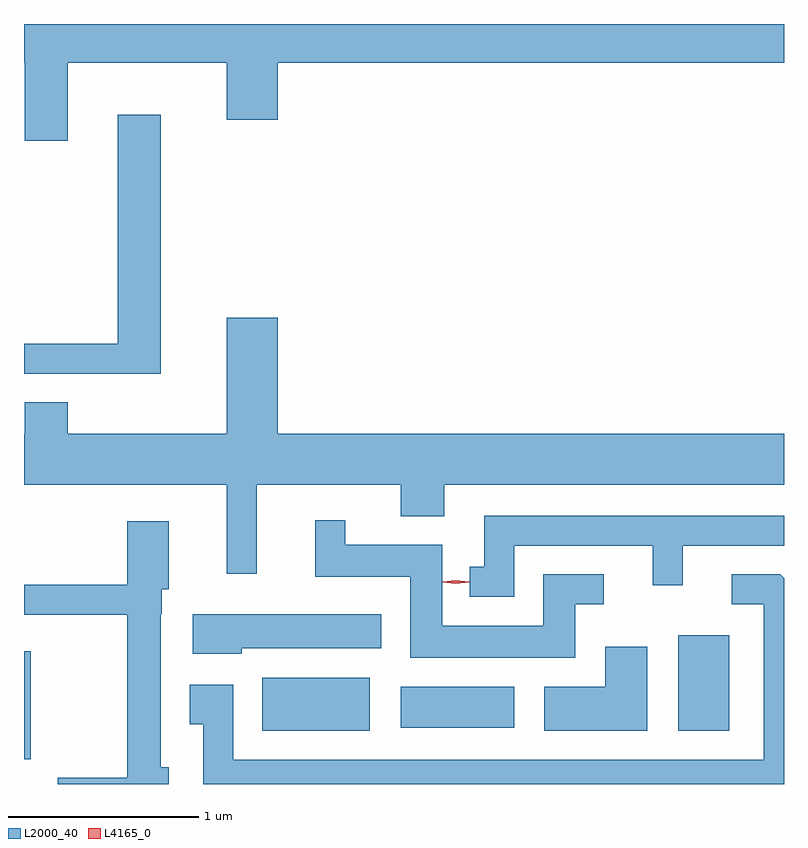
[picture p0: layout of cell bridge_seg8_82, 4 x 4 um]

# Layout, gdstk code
import gdstk
lib = gdstk.Library(unit=1e-6, precision=1e-09)
def R(c, l, rs):  # rectangles x0, y0, x1, y1
    for r in rs: c.add(gdstk.rectangle(r[:2], r[2:], *l))
def P(c, l, *ps):  # polygons
    for p in ps: c.add(gdstk.Polygon(p, *l))
L2000_40 = (2000, 40)
L4165_0 = (4165, 0)

bridge_seg8_82 = lib.new_cell('bridge_seg8_82')
R(bridge_seg8_82, L2000_40, [(1592.628,1810.551,1592.664,1811.119), (1593.881,1810.701,1594.449,1810.979), (1596.071,1810.701,1596.339,1811.204), (1594.611,1810.716,1595.209,1810.934)])
P(bridge_seg8_82, L2000_40, [(1592.859,1814.216),(1593.696,1814.216),(1593.696,1813.916),(1593.964,1813.916),(1593.964,1814.216),(1596.628,1814.216),(1596.628,1814.421),(1592.628,1814.421),(1592.628,1814.216),(1592.631,1814.216),(1592.631,1813.806),(1592.859,1813.806)],
  [(1593.349,1813.944),(1593.121,1813.944),(1593.121,1812.739),(1592.628,1812.739),(1592.628,1812.581),(1593.349,1812.581)],
  [(1593.854,1811.996),(1594.611,1811.996),(1594.611,1811.831),(1594.839,1811.831),(1594.839,1811.996),(1596.628,1811.996),(1596.628,1812.264),(1593.964,1812.264),(1593.964,1812.874),(1593.696,1812.874),(1593.696,1812.264),(1592.859,1812.264),(1592.859,1812.429),(1592.631,1812.429),(1592.631,1812.264),(1592.628,1812.264),(1592.628,1811.996),(1593.696,1811.996),(1593.696,1811.528),(1593.854,1811.528)],
  [(1595.209,1811.676),(1595.936,1811.676),(1595.936,1811.468),(1596.094,1811.468),(1596.094,1811.676),(1596.628,1811.676),(1596.628,1811.834),(1595.051,1811.834),(1595.051,1811.564),(1594.973,1811.564),(1594.973,1811.406),(1595.209,1811.406)],
  [(1595.529,1811.366),(1595.678,1811.366),(1595.678,1811.524),(1595.361,1811.524),(1595.361,1811.254),(1594.829,1811.254),(1594.829,1811.679),(1594.319,1811.679),(1594.319,1811.808),(1594.161,1811.808),(1594.161,1811.511),(1594.661,1811.511),(1594.661,1811.086),(1595.529,1811.086)],
  [(1593.389,1810.509),(1593.349,1810.509),(1593.349,1811.315),(1593.354,1811.315),(1593.354,1811.446),(1593.389,1811.446),(1593.389,1811.804),(1593.171,1811.804),(1593.171,1811.469),(1592.628,1811.469),(1592.628,1811.311),(1593.171,1811.311),(1593.171,1810.454),(1592.806,1810.454),(1592.806,1810.421),(1593.389,1810.421)],
  [(1596.628,1811.505),(1596.609,1811.524),(1596.353,1811.524),(1596.353,1811.366),(1596.521,1811.366),(1596.521,1810.549),(1593.729,1810.549),(1593.729,1810.944),(1593.501,1810.944),(1593.501,1810.736),(1593.571,1810.736),(1593.571,1810.421),(1596.628,1810.421)],
  [(1593.774,1811.136),(1594.509,1811.136),(1594.509,1811.314),(1593.516,1811.314),(1593.516,1811.106),(1593.774,1811.106)],
  [(1595.909,1811.144),(1595.686,1811.144),(1595.686,1810.934),(1595.366,1810.934),(1595.366,1810.701),(1595.909,1810.701)])
P(bridge_seg8_82, L4165_0, [(1594.901,1811.475),(1594.832,1811.484),(1594.832,1811.484),(1594.832,1811.485),(1594.901,1811.494),(1594.971,1811.485),(1594.971,1811.485),(1594.971,1811.484)])

lib.write_gds('bridge_seg8_82.gds')
